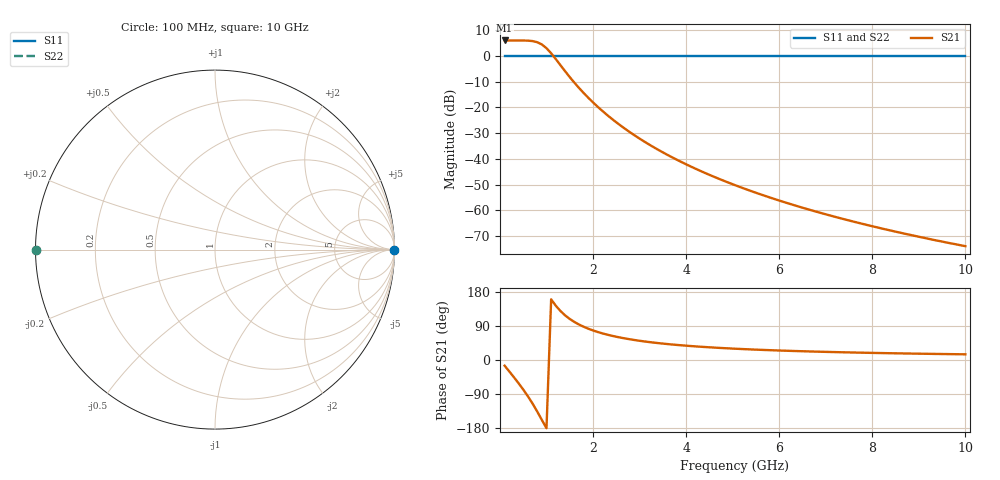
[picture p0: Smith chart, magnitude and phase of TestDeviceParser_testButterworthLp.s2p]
! File created by SignalIntegrity v1.1.14: Signal and Power Integrity Tools
! https://github.com/TeledyneLeCroy/SignalIntegrity
# MHz S MA R 50.0
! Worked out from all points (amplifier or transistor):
!   100 points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, 100 MHz to 10 GHz, reference 50 ohm
!   highest |S21| = 6.0 dB at 100 MHz (marker M1)
!   |S21| within 3 dB of that: start of sweep to 999.3 MHz
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100  1 0.0  2 -15.0  0 0.0  1 180.0
200  1 0.0  2 -30.1  0 0.0  1 180.0
300  1 0.0  2 -45.5  0 0.0  1 180.0
400  1 0.0  1.999 -61.4  0 0.0  1 180.0
500  1 0.0  1.996 -78.0  0 0.0  1 180.0
600  1 0.0  1.983 -95.7  0 0.0  1 180.0
700  1 0.0  1.945 -114.9  0 0.0  1 180.0
800  1 0.0  1.851 -135.9  0 0.0  1 180.0
900  1 0.0  1.672 -158.1  0 0.0  1 180.0
1000  1 0.0  1.414 -180.0  0 0.0  1 180.0
1100  1 0.0  1.128 160.1  0 0.0  1 180.0
1200  1 0.0  0.8688 143.2  0 0.0  1 180.0
1300  1 0.0  0.6609 129.2  0 0.0  1 180.0
1400  1 0.0  0.5038 117.8  0 0.0  1 180.0
1600  1 0.0  0.3017 100.3  0 0.0  1 180.0
1800  1 0.0  0.1897 87.6  0 0.0  1 180.0
2500  1 0.0  0.05118 61.4  0 0.0  1 180.0
3400  1 0.0  0.01497 44.6  0 0.0  1 180.0
5100  1 0.0  0.002956 29.5  0 0.0  1 180.0
6700  1 0.0  0.000993 22.4  0 0.0  1 180.0
8400  1 0.0  0.000402 17.9  0 0.0  1 180.0
10000  1 0.0  0.0002 15.0  0 0.0  1 180.0
